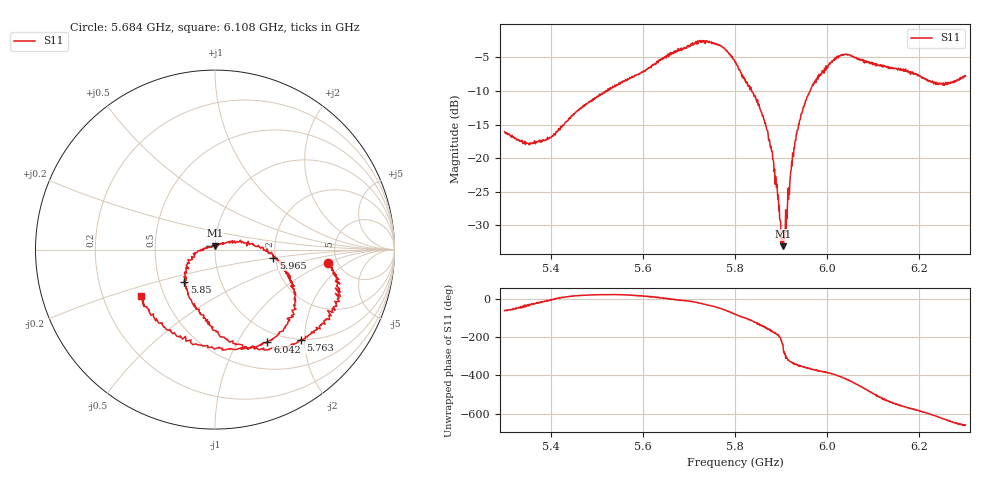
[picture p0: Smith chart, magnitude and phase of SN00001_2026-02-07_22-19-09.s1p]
! NanoVNA-App
! Date: 2026-02-07 22:19:50
! Start: 5,3GHz Stop: 6,3GHz Points: 1001
! S-Parameter data: F S11
# Hz S RI R 50
!  Frequency  S11_Real  S11_Imag
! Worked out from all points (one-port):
!   1001 points, 5.3 GHz to 6.3 GHz, reference 50 ohm
!   lowest |S11| = -33.1 dB at 5.905 GHz (marker M1), VSWR 1.05, Z = 49.8 + j2.21 ohm
!   |S11| at or under -10 dB: start of sweep to 5.519 GHz; 5.519051 GHz to 5.523091 GHz (4.041 MHz wide, 0.0732 % of centre); 5.836 GHz to 5.963 GHz (126.8 MHz wide, 2.15 % of centre)
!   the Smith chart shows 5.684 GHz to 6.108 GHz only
!   S11 on the Smith chart (normalised r, x): 5.684 GHz: 4.16, -1.03; 5.763 GHz: 0.98, -1.91; 5.85 GHz: 0.67, -0.26; 5.965 GHz: 1.95, -0.19; 6.042 GHz: 0.85, -1.34; 6.108 GHz: 0.37, -0.25
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5.3e9  0.0746 -0.1382
5.357e9  0.1116 -0.0627
5.425e9  0.17 0.0256
5.55e9  0.3294 0.1318
5.623e9  0.482 0.0921
5.675e9  0.6318 -0.0656
5.684e9  0.6269 -0.0745
5.726e9  0.6763 -0.2976
5.763e9  0.4768 -0.5037
5.8e9  0.0999 -0.5089
5.85e9  -0.1715 -0.1812
5.879e9  -0.1113 -0.0279
5.891e9  -0.0637 0.00625
5.9e9  -0.0186 0.0143
5.905e9  -0.00138 0.0221
5.909e9  0.00872 0.0274
5.925e9  0.0974 0.0498
5.943e9  0.2088 0.0342
5.965e9  0.3258 -0.0444
6.013e9  0.4498 -0.2871
6.042e9  0.292 -0.5138
6.05e9  0.2059 -0.5444
6.077e9  -0.1241 -0.5291
6.108e9  -0.4127 -0.2593
6.136e9  -0.4628 -0.0359
6.175e9  -0.3971 0.2099
6.246e9  -0.0542 0.3532
6.3e9  0.1959 0.3561
